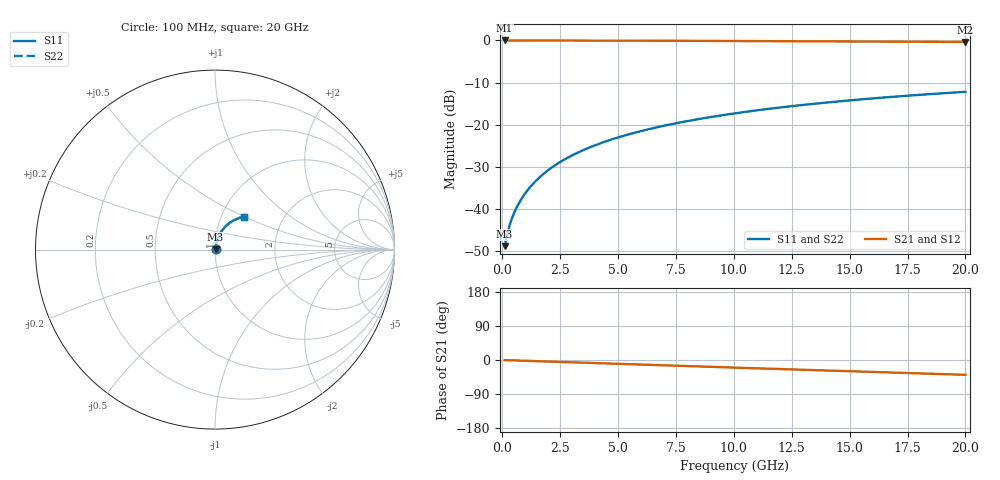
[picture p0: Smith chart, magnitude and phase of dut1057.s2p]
! Touchstone file exported from HFSS 2026.1.0
!  File:  C:/ffzhzh/LocalFiles/Ansys_Project_Files/temp_train_BSMRDL_1057_1783174040_22436.aedt
!  Generated:  10:08:31 PM Jul  4, 2026
!  Design:  BSMRDL
!  Project:  temp_train_BSMRDL_1057_1783174040_22436
! Variables:
!  h_bsmrdl = 2.87um
!  h_ox = 20um
!  h_rdl = 5um
!  h_sub = 80um
!  h_tmrdl = 5um
!  h_tsv = 80um
!  h_via = 3um
!  l_bsmrdl = 624.86um
!  l_sub = 1024.86um
!  l_tmrdl = 200um
!  m_sub = 200um
!  pitch = 40.73um
!  r_tsv = 6um
!  s_tmrdl = 10um
!  w_bsmrdl = 26.73um
!  w_sub = 500um
!  w_tmrdl = 12um
!  x_tsv_center1 = 206um
!  x_tsv_center2 = 857.59um
!  x_tsv_center3 = 1069.59um
!  x_tsv_center4 = 1721.18um
!  x_tsv_center5 = 1933.18um
!  x_tsv_center6 = 2584.77um
# GHz S MA R 50.000000
! Terminal data exported
! Port[1] = BSM_RDL1_1_T1
! Port[2] = BSM_RDL1_1_T2
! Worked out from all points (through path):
!   200 points, 100 MHz to 20 GHz, reference 50 ohm
!   highest |S21| = -0.03 dB at 100 MHz (marker M1); lowest = -0.4 dB at 20 GHz (marker M2)
!   group delay of S21, straight-line fit = 5.42 ps
!   lowest |S11| = -48.7 dB at 100 MHz (marker M3), VSWR 1.01, Z = 50.3 + j0.178 ohm
!   |S11| at or under -10 dB: start of sweep to end of sweep
!   |S22| runs from -48.7 to -12.2 dB; largest |S21 - S12| = 2.8e-15
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0.1  0.003653 29.0  0.9968 -0.2  0.9968 -0.2  0.003653 29.0
! Gamma 0 0 0 0
! Port Impedance 50 0 50 0
0.2  0.004854 45.3  0.9966 -0.4  0.9966 -0.4  0.004854 45.3
0.3  0.006216 53.6  0.9964 -0.7  0.9964 -0.7  0.006216 53.6
0.4  0.007578 58.6  0.9961 -0.9  0.9961 -0.9  0.007578 58.6
0.5  0.008915 62.0  0.9959 -1.1  0.9959 -1.1  0.008915 62.0
0.6  0.01024 64.6  0.9958 -1.3  0.9958 -1.3  0.01024 64.6
0.8  0.01288 68.4  0.9956 -1.7  0.9956 -1.7  0.01288 68.5
1  0.01555 71.1  0.9954 -2.1  0.9954 -2.1  0.01555 71.1
1.2  0.01826 72.9  0.9952 -2.5  0.9952 -2.5  0.01826 72.9
1.7  0.02512 75.5  0.9949 -3.5  0.9949 -3.5  0.02512 75.5
2.2  0.03206 76.6  0.9946 -4.5  0.9946 -4.5  0.03206 76.7
2.8  0.04042 77.0  0.9941 -5.7  0.9941 -5.7  0.04042 77.0
3.5  0.05016 76.7  0.9934 -7.1  0.9934 -7.1  0.05016 76.7
4.2  0.05984 76.0  0.9925 -8.5  0.9925 -8.5  0.05984 76.0
5  0.07081 75.0  0.9915 -10.1  0.9915 -10.1  0.07082 75.0
5.9  0.08301 73.6  0.9901 -11.9  0.9901 -11.9  0.08301 73.6
6.8  0.09501 72.1  0.9885 -13.7  0.9885 -13.7  0.09502 72.1
8.3  0.1146 69.4  0.9857 -16.7  0.9857 -16.7  0.1146 69.4
10.1  0.1373 66.2  0.9819 -20.2  0.9819 -20.2  0.1373 66.2
13.4  0.1766 60.1  0.9741 -26.6  0.9741 -26.6  0.1766 60.1
16.7  0.2128 54.1  0.9658 -32.9  0.9658 -32.9  0.2128 54.1
20  0.2456 48.2  0.9572 -39.1  0.9572 -39.1  0.2456 48.2
